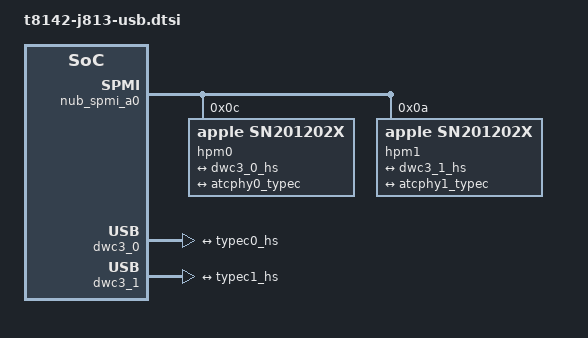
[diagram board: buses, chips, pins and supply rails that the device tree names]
// SPDX-License-Identifier: GPL-2.0+ OR MIT
#include <dt-bindings/spmi/spmi.h>

/ {
	aliases {
		atcphy0 = &atcphy0;
		usb0 = &dwc3_0;
		atcphy1 = &atcphy1;
		usb1 = &dwc3_1;
	};
};

&nub_spmi_a0 {
	hpm0: usb-pd@c {
		compatible = "apple,sn201202x";
		reg = <0xc SPMI_USID>;

		typec0: connector {
			compatible = "usb-c-connector";
			label = "USB-C Left-front";
			power-role = "dual";
			data-role = "host";

			ports {
				#address-cells = <1>;
				#size-cells = <0>;

				port@0 {
					reg = <0>;
					typec0_hs: endpoint {
						remote-endpoint = <&dwc3_0_hs>;
					};
				};

				port@1 {
					reg = <1>;
					typec0_ss: endpoint {
						remote-endpoint = <&atcphy0_typec>;
					};
				};
			};
		};
	};

	hpm1: usb-pd@a {
		compatible = "apple,sn201202x";
		reg = <0xa SPMI_USID>;

		typec1: connector {
			compatible = "usb-c-connector";
			label = "USB-C Left-rear";
			power-role = "dual";
			data-role = "host";

			ports {
				#address-cells = <1>;
				#size-cells = <0>;

				port@0 {
					reg = <0>;
					typec1_hs: endpoint {
						remote-endpoint = <&dwc3_1_hs>;
					};
				};

				port@1 {
					reg = <1>;
					typec1_ss: endpoint {
						remote-endpoint = <&atcphy1_typec>;
					};
				};
			};
		};
	};
};

&dwc3_0 {
	ports {
		port@0 {
			reg = <0>;
			dwc3_0_hs: endpoint {
				remote-endpoint = <&typec0_hs>;
			};
		};
	};
};

&atcphy0 {
	ports {
		port@0 {
			reg = <0>;
			atcphy0_typec: endpoint {
				remote-endpoint = <&typec0_ss>;
			};
		};
	};
};

&dwc3_1 {
	ports {
		port@0 {
			reg = <0>;
			dwc3_1_hs: endpoint {
				remote-endpoint = <&typec1_hs>;
			};
		};
	};
};

&atcphy1 {
	ports {
		port@0 {
			reg = <0>;
			atcphy1_typec: endpoint {
				remote-endpoint = <&typec1_ss>;
			};
		};
	};
};
